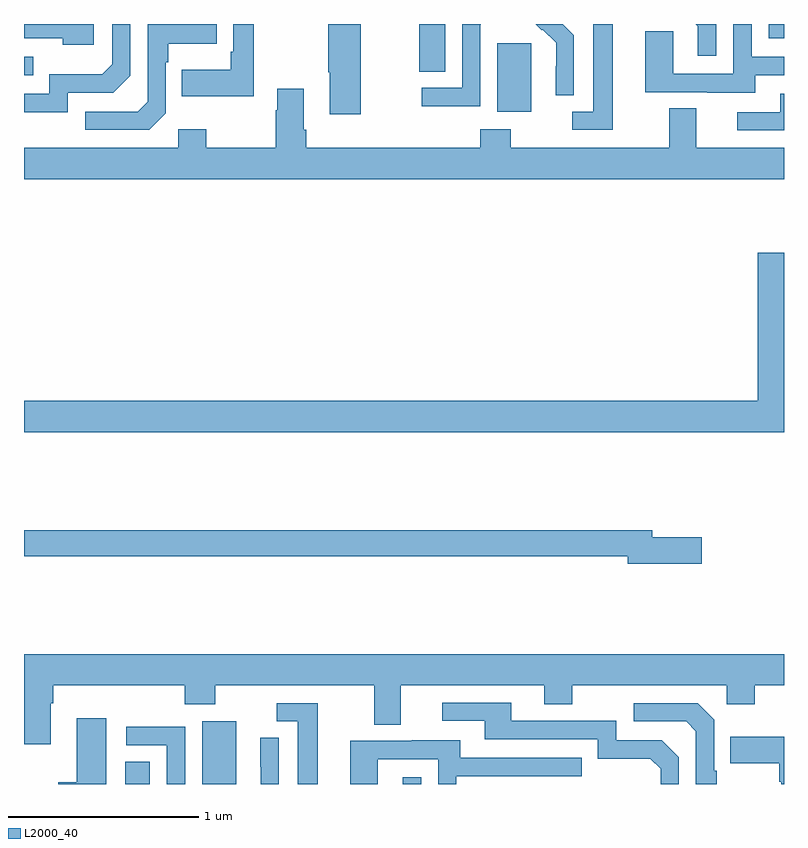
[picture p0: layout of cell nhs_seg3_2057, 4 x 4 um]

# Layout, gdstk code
import gdstk
lib = gdstk.Library(unit=1e-6, precision=1e-09)
def R(c, l, rs):  # rectangles x0, y0, x1, y1
    for r in rs: c.add(gdstk.rectangle(r[:2], r[2:], *l))
def P(c, l, *ps):  # polygons
    for p in ps: c.add(gdstk.Polygon(p, *l))
L2000_40 = (2000, 40)

nhs_seg3_2057 = lib.new_cell('nhs_seg3_2057')
R(nhs_seg3_2057, L2000_40, [(217.532,696.4,217.663,696.518), (217.937,696.4,218.116,696.73), (218.993,696.4,219.09,696.436), (219.491,699.938,219.67,700.299), (217,700.131,217.049,700.227), (219.079,700.15,219.217,700.4), (220.92,700.326,221,700.4)])
P(nhs_seg3_2057, L2000_40, [(219.894,700.342),(219.836,700.4),(219.694,700.4),(219.726,700.368),(219.729,700.371),(219.8,700.301),(219.8,700.178),(219.798,700.178),(219.798,700.024),(219.894,700.024)],
  [(219.402,700.396),(219.405,700.396),(219.405,700.4),(219.306,700.4),(219.306,700.065),(219.093,700.065),(219.093,699.967),(219.402,699.967)],
  [(218.209,700.4),(218.1,700.4),(218.1,700.255),(218.088,700.255),(218.088,700.159),(217.831,700.159),(217.831,700.019),(218.209,700.019)],
  [(220.849,700.131),(221,700.131),(221,700.227),(220.83,700.227),(220.83,700.4),(220.734,700.4),(220.734,700.137),(220.416,700.137),(220.416,700.361),(220.271,700.361),(220.271,700.041),(220.595,700.041),(220.595,700.037),(220.849,700.037)],
  [(217.23,700.038),(217.47,700.038),(217.56,700.128),(217.56,700.4),(217.464,700.4),(217.464,700.188),(217.411,700.135),(217.134,700.135),(217.134,700.032),(217,700.032),(217,699.936),(217.23,699.936)],
  [(220.099,700.4),(219.995,700.4),(219.995,699.939),(219.885,699.939),(219.885,699.843),(220.099,699.843)],
  [(220.644,700.4),(220.536,700.4),(220.547,700.389),(220.547,700.233),(220.644,700.233)],
  [(217.366,700.4),(217,700.4),(217,700.326),(217.205,700.326),(217.205,700.292),(217.366,700.292)],
  [(218.772,700.4),(218.602,700.4),(218.602,700.147),(218.609,700.147),(218.609,699.924),(218.772,699.924)],
  [(217.746,699.93),(217.746,700.199),(217.759,700.199),(217.759,700.295),(218.015,700.295),(218.015,700.4),(217.65,700.4),(217.65,699.99),(217.599,699.939),(217.323,699.939),(217.323,699.843),(217.659,699.843)],
  [(219.401,699.847),(219.401,699.748),(218.486,699.748),(218.486,699.844),(218.473,699.844),(218.473,700.06),(218.333,700.06),(218.333,699.947),(218.326,699.947),(218.326,699.748),(217.959,699.748),(217.959,699.847),(217.812,699.847),(217.812,699.748),(217,699.748),(217,699.584),(221,699.584),(221,699.748),(220.537,699.748),(220.537,699.956),(220.397,699.956),(220.397,699.748),(219.561,699.748),(219.561,699.847)],
  [(221,700.032),(220.979,700.032),(220.979,699.936),(220.755,699.936),(220.755,699.84),(221,699.84)],
  [(221,699.196),(220.862,699.196),(220.862,698.416),(217,698.416),(217,698.252),(221,698.252)],
  [(220.567,697.7),(220.306,697.7),(220.306,697.736),(217,697.736),(217,697.6),(220.178,697.6),(220.178,697.558),(220.567,697.558)],
  [(217.141,696.824),(217.154,696.824),(217.154,696.92),(217.847,696.92),(217.847,696.821),(218.007,696.821),(218.007,696.92),(218.843,696.92),(218.843,696.712),(218.983,696.712),(218.983,696.92),(219.737,696.92),(219.737,696.821),(219.885,696.821),(219.885,696.92),(220.698,696.92),(220.698,696.821),(220.845,696.821),(220.845,696.92),(221,696.92),(221,697.084),(217,697.084),(217,696.721),(217.001,696.721),(217.001,696.609),(217.141,696.609)],
  [(220.446,696.54),(220.356,696.63),(220.116,696.63),(220.116,696.732),(219.565,696.732),(219.565,696.828),(219.201,696.828),(219.201,696.732),(219.425,696.732),(219.425,696.636),(220.02,696.636),(220.02,696.533),(220.297,696.533),(220.35,696.48),(220.35,696.4),(220.446,696.4)],
  [(220.645,696.469),(220.632,696.469),(220.632,696.738),(220.545,696.825),(220.209,696.825),(220.209,696.729),(220.485,696.729),(220.536,696.678),(220.536,696.4),(220.645,696.4)],
  [(218.545,696.825),(218.331,696.825),(218.331,696.729),(218.441,696.729),(218.441,696.4),(218.545,696.4)],
  [(217.432,696.745),(217.277,696.745),(217.277,696.41),(217.181,696.41),(217.181,696.4),(217.432,696.4)],
  [(217.848,696.702),(217.539,696.702),(217.539,696.603),(217.752,696.603),(217.752,696.4),(217.848,696.4)],
  [(221,696.649),(220.717,696.649),(220.717,696.509),(220.974,696.509),(220.974,696.413),(220.986,696.413),(220.986,696.4),(221,696.4)],
  [(218.34,696.644),(218.244,696.644),(218.244,696.49),(218.246,696.49),(218.246,696.4),(218.34,696.4)],
  [(218.862,696.531),(219.18,696.531),(219.18,696.4),(219.276,696.4),(219.276,696.441),(219.935,696.441),(219.935,696.537),(219.295,696.537),(219.295,696.631),(219.041,696.631),(219.041,696.627),(218.717,696.627),(218.717,696.4),(218.862,696.4)])

lib.write_gds('nhs_seg3_2057.gds')
